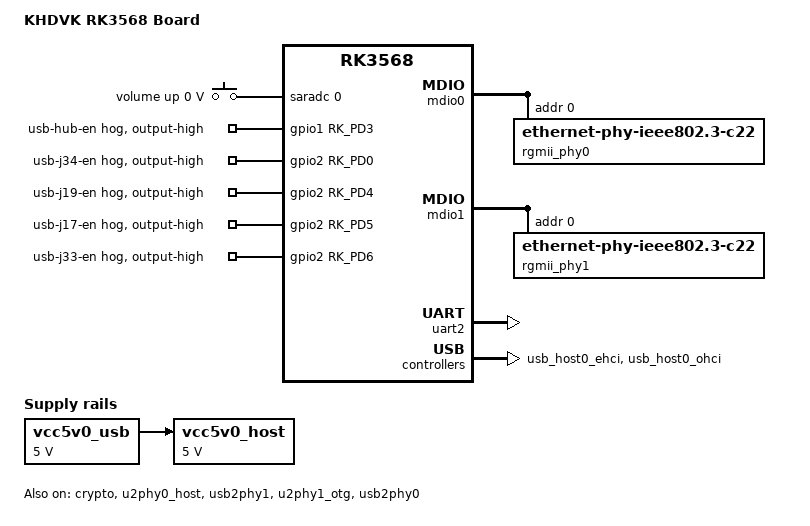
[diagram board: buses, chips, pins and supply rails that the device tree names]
/*
 * SPDX-License-Identifier:     GPL-2.0+
 *
 * (C) Copyright 2020 Rockchip Electronics Co., Ltd
 */

/dts-v1/;
#include "rk3568.dtsi"
#include "rk3568-u-boot.dtsi"
#include <dt-bindings/input/input.h>
#include <dt-bindings/gpio/gpio.h>

/ {
	model = "KHDVK RK3568 Board";
	compatible = "kaihong,khdvk_rk3568_a", "rockchip,rk3568";

	/* Match kernel HDMI DTS: USB2 host PHY + HUB port power for BIOS keyboard */
	vcc5v0_usb: vcc5v0-usb {
		compatible = "regulator-fixed";
		regulator-name = "vcc5v0_usb";
		regulator-always-on;
		regulator-boot-on;
		regulator-min-microvolt = <5000000>;
		regulator-max-microvolt = <5000000>;
	};

	vcc5v0_host: vcc5v0-host-regulator {
		compatible = "regulator-fixed";
		regulator-name = "vcc5v0_host";
		regulator-boot-on;
		regulator-always-on;
		regulator-min-microvolt = <5000000>;
		regulator-max-microvolt = <5000000>;
		vin-supply = <&vcc5v0_usb>;
	};

	adc-keys {
		compatible = "adc-keys";
		io-channels = <&saradc 0>;
		io-channel-names = "buttons";
		keyup-threshold-microvolt = <1800000>;
		u-boot,dm-spl;
		status = "okay";

		volumeup-key {
			u-boot,dm-spl;
			linux,code = <KEY_VOLUMEUP>;
			label = "volume up";
			press-threshold-microvolt = <9>;
		};
	};
};

&gmac0 {
	phy-mode = "rgmii";
	clock_in_out = "output";

	snps,reset-gpio = <&gpio2 RK_PD3 GPIO_ACTIVE_LOW>;
	snps,reset-active-low;
	/* Reset time is 20ms, 100ms for rtl8211f */
	snps,reset-delays-us = <0 20000 100000>;
	assigned-clocks = <&cru SCLK_GMAC0_RX_TX>, <&cru SCLK_GMAC0>;
	assigned-clock-parents = <&cru SCLK_GMAC0_RGMII_SPEED>;
	assigned-clock-rates = <0>, <125000000>;

	pinctrl-names = "default";
	pinctrl-0 = <&gmac0_miim
		     &gmac0_tx_bus2
		     &gmac0_rx_bus2
		     &gmac0_rgmii_clk
		     &gmac0_rgmii_bus>;

	tx_delay = <0x3c>;
	rx_delay = <0x2f>;

	phy-handle = <&rgmii_phy0>;
	status = "disabled";
};

&gmac1 {
	phy-mode = "rgmii";
	clock_in_out = "output";

	snps,reset-gpio = <&gpio2 RK_PD1 GPIO_ACTIVE_LOW>;
	snps,reset-active-low;
	/* Reset time is 20ms, 100ms for rtl8211f */
	snps,reset-delays-us = <0 20000 100000>;

	assigned-clocks = <&cru SCLK_GMAC1_RX_TX>, <&cru SCLK_GMAC1>;
	assigned-clock-parents = <&cru SCLK_GMAC1_RGMII_SPEED>;
	assigned-clock-rates = <0>, <125000000>;

	pinctrl-names = "default";
	pinctrl-0 = <&gmac1m1_miim
		     &gmac1m1_tx_bus2
		     &gmac1m1_rx_bus2
		     &gmac1m1_rgmii_clk
		     &gmac1m1_rgmii_bus>;

	tx_delay = <0x4f>;
	rx_delay = <0x26>;

	phy-handle = <&rgmii_phy1>;
	status = "disabled";
};

&mdio0 {
	rgmii_phy0: phy@0 {
		compatible = "ethernet-phy-ieee802.3-c22";
		reg = <0x0>;
	};
};

&mdio1 {
	rgmii_phy1: phy@0 {
		compatible = "ethernet-phy-ieee802.3-c22";
		reg = <0x0>;
	};
};

&crypto {
	status = "okay";
};

&uart2 {
	status = "okay";
};

/*
 * U-Boot: disable USB3 DWC3 (missing maximum-speed on this board).
 * BIOS keyboard uses USB2 host0 only (J98 / u2phy1_otg).
 */
&usbdrd30 {
	status = "disabled";
	/delete-property/ u-boot,dm-pre-reloc;
};

&usbdrd_dwc3 {
	status = "disabled";
	/delete-property/ u-boot,dm-pre-reloc;
};

&usbhost30 {
	status = "disabled";
	/delete-property/ u-boot,dm-pre-reloc;
};

&usbhost_dwc3 {
	status = "disabled";
	/delete-property/ u-boot,dm-pre-reloc;
};

&u2phy0_host {
	phy-supply = <&vcc5v0_host>;
	status = "okay";
};

/* RK3568: usb_host0 (J98) = u2phy1_otg. Do not enable host1 in U-Boot (EHCI timeout). */
&usb2phy1 {
	status = "okay";
};

&u2phy1_otg {
	phy-supply = <&vcc5v0_host>;
	status = "okay";
};

&u2phy1_host {
	status = "disabled";
};

&usb2phy0 {
	status = "okay";
};

&usb_host0_ehci {
	status = "okay";
};

&usb_host0_ohci {
	status = "okay";
};

&usb_host1_ehci {
	status = "disabled";
};

&usb_host1_ohci {
	status = "disabled";
};

/*
 * USB HUB + port power (kernel HDMI DTS: gpio1 PD3 = HUB EN; gpio2 PD0/4/5/6 = J34/J19/J17/J33).
 * gpio-hog: U-Boot fixed-regulator+gpio often fails to bind (-19); hog works at GPIO probe.
 */
&gpio1 {
	usb-hub-en-hog {
		gpio-hog;
		gpios = <RK_PD3 GPIO_ACTIVE_HIGH>;
		output-high;
		line-name = "usb-hub-en";
	};
};

&gpio2 {
	usb-j34-en-hog {
		gpio-hog;
		gpios = <RK_PD0 GPIO_ACTIVE_HIGH>;
		output-high;
		line-name = "usb-j34-en";
	};
	usb-j19-en-hog {
		gpio-hog;
		gpios = <RK_PD4 GPIO_ACTIVE_HIGH>;
		output-high;
		line-name = "usb-j19-en";
	};
	usb-j17-en-hog {
		gpio-hog;
		gpios = <RK_PD5 GPIO_ACTIVE_HIGH>;
		output-high;
		line-name = "usb-j17-en";
	};
	usb-j33-en-hog {
		gpio-hog;
		gpios = <RK_PD6 GPIO_ACTIVE_HIGH>;
		output-high;
		line-name = "usb-j33-en";
	};
};
